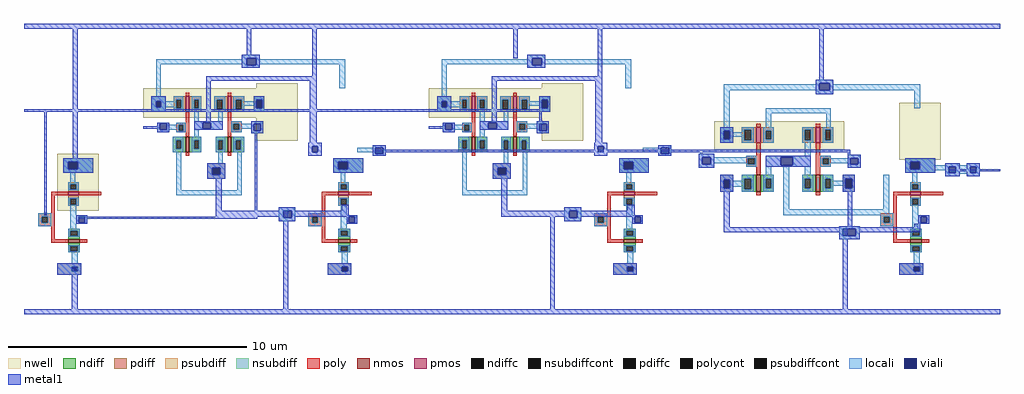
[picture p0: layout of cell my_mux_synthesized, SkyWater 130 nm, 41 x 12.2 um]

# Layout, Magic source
magic
tech sky130A
<< nwell >>
rect -60 -65 115 175
rect 775 229 950 470
rect 1975 229 2150 470
rect 3477 149 3652 389
<< nmos >>
rect -15 -200 35 -185
rect 1120 -200 1170 -185
rect 2320 -200 2370 -185
rect 3522 -200 3572 -185
<< pmos >>
rect -15 0 30 15
rect 1120 0 1165 15
rect 2320 0 2365 15
rect 3522 0 3567 15
<< ndiff >>
rect -15 -150 35 -140
rect -15 -170 -5 -150
rect 25 -170 35 -150
rect -15 -185 35 -170
rect -15 -215 35 -200
rect -15 -235 -5 -215
rect 25 -235 35 -215
rect -15 -240 35 -235
rect 1120 -150 1170 -140
rect 1120 -170 1130 -150
rect 1160 -170 1170 -150
rect 1120 -185 1170 -170
rect 1120 -215 1170 -200
rect 1120 -235 1130 -215
rect 1160 -235 1170 -215
rect 1120 -240 1170 -235
rect 2320 -150 2370 -140
rect 2320 -170 2330 -150
rect 2360 -170 2370 -150
rect 2320 -185 2370 -170
rect 2320 -215 2370 -200
rect 2320 -235 2330 -215
rect 2360 -235 2370 -215
rect 2320 -240 2370 -235
rect 3522 -150 3572 -140
rect 3522 -170 3532 -150
rect 3562 -170 3572 -150
rect 3522 -185 3572 -170
rect 3522 -215 3572 -200
rect 3522 -235 3532 -215
rect 3562 -235 3572 -215
rect 3522 -240 3572 -235
<< pdiff >>
rect -15 45 30 55
rect -15 25 -5 45
rect 20 25 30 45
rect -15 15 30 25
rect -15 -15 30 0
rect -15 -40 -5 -15
rect 20 -40 30 -15
rect -15 -45 30 -40
rect 1120 45 1165 55
rect 1120 25 1130 45
rect 1155 25 1165 45
rect 1120 15 1165 25
rect 1120 -15 1165 0
rect 1120 -40 1130 -15
rect 1155 -40 1165 -15
rect 1120 -45 1165 -40
rect 2320 45 2365 55
rect 2320 25 2330 45
rect 2355 25 2365 45
rect 2320 15 2365 25
rect 2320 -15 2365 0
rect 2320 -40 2330 -15
rect 2355 -40 2365 -15
rect 2320 -45 2365 -40
rect 3522 45 3567 55
rect 3522 25 3532 45
rect 3557 25 3567 45
rect 3522 15 3567 25
rect 3522 -15 3567 0
rect 3522 -40 3532 -15
rect 3557 -40 3567 -15
rect 3522 -45 3567 -40
<< ndiffc >>
rect -5 -170 25 -150
rect -5 -235 25 -215
rect 1130 -170 1160 -150
rect 1130 -235 1160 -215
rect 2330 -170 2360 -150
rect 2330 -235 2360 -215
rect 3532 -170 3562 -150
rect 3532 -235 3562 -215
<< pdiffc >>
rect -5 25 20 45
rect -5 -40 20 -15
rect 1130 25 1155 45
rect 1130 -40 1155 -15
rect 2330 25 2355 45
rect 2330 -40 2355 -15
rect 3532 25 3557 45
rect 3532 -40 3557 -15
<< psubdiff >>
rect -60 -300 40 -285
rect -60 -320 0 -300
rect 25 -320 40 -300
rect -60 -335 40 -320
rect 1075 -300 1175 -285
rect 1075 -320 1135 -300
rect 1160 -320 1175 -300
rect 1075 -335 1175 -320
rect 2275 -300 2375 -285
rect 2275 -320 2335 -300
rect 2360 -320 2375 -300
rect 2275 -335 2375 -320
rect 3477 -300 3577 -285
rect 3477 -320 3537 -300
rect 3562 -320 3577 -300
rect 3477 -335 3577 -320
<< nsubdiff >>
rect -35 140 90 155
rect -35 110 -15 140
rect 25 110 90 140
rect -35 95 90 110
rect 1100 140 1225 155
rect 1100 110 1120 140
rect 1160 110 1225 140
rect 1100 95 1225 110
rect 2300 140 2425 155
rect 2300 110 2320 140
rect 2360 110 2425 140
rect 2300 95 2425 110
rect 3502 140 3627 155
rect 3502 110 3522 140
rect 3562 110 3627 140
rect 3502 95 3627 110
<< psubdiffcont >>
rect 0 -320 25 -300
rect 1135 -320 1160 -300
rect 2335 -320 2360 -300
rect 3537 -320 3562 -300
<< nsubdiffcont >>
rect -15 110 25 140
rect 1120 110 1160 140
rect 2320 110 2360 140
rect 3522 110 3562 140
<< poly >>
rect -85 0 -15 15
rect 30 0 125 15
rect -85 -75 -70 0
rect -140 -90 -70 -75
rect -140 -115 -125 -90
rect -100 -115 -70 -90
rect -140 -130 -70 -115
rect -85 -185 -70 -130
rect -85 -200 -15 -185
rect 35 -200 65 -185
rect 1050 0 1120 15
rect 1165 0 1260 15
rect 1050 -75 1065 0
rect 995 -90 1065 -75
rect 995 -115 1010 -90
rect 1035 -115 1065 -90
rect 995 -130 1065 -115
rect 1050 -185 1065 -130
rect 1050 -200 1120 -185
rect 1170 -200 1200 -185
rect 2250 0 2320 15
rect 2365 0 2460 15
rect 2250 -75 2265 0
rect 2195 -90 2265 -75
rect 2195 -115 2210 -90
rect 2235 -115 2265 -90
rect 2195 -130 2265 -115
rect 2250 -185 2265 -130
rect 2250 -200 2320 -185
rect 2370 -200 2400 -185
rect 3452 0 3522 15
rect 3567 0 3662 15
rect 3452 -75 3467 0
rect 3397 -90 3467 -75
rect 3397 -115 3412 -90
rect 3437 -115 3467 -90
rect 3397 -130 3467 -115
rect 3452 -185 3467 -130
rect 3452 -200 3522 -185
rect 3572 -200 3602 -185
<< polycont >>
rect -125 -115 -100 -90
rect 1010 -115 1035 -90
rect 2210 -115 2235 -90
rect 3412 -115 3437 -90
rect -115 -85 -105 -75
<< locali >>
rect 715 575 790 590
rect 715 570 735 575
rect 355 550 735 570
rect 355 415 375 550
rect 715 545 735 550
rect 775 570 790 575
rect 775 550 1150 570
rect 775 545 790 550
rect 715 535 790 545
rect 1125 450 1150 550
rect 360 300 410 305
rect 755 300 805 310
rect 360 275 370 300
rect 400 295 410 300
rect 400 275 440 295
rect 715 280 765 300
rect 360 265 410 275
rect 755 270 765 280
rect 795 270 805 300
rect 755 260 805 270
rect 1265 200 1320 210
rect 1200 180 1275 200
rect 1265 175 1275 180
rect 1310 175 1320 200
rect 1265 165 1320 175
rect 870 -65 940 -50
rect 870 -95 890 -65
rect 925 -95 940 -65
rect 870 -110 940 -95
rect 1915 575 1990 590
rect 1915 570 1935 575
rect 1555 550 1935 570
rect 1555 415 1575 550
rect 1915 545 1935 550
rect 1975 570 1990 575
rect 1975 550 2350 570
rect 1975 545 1990 550
rect 1915 535 1990 545
rect 2325 450 2350 550
rect 1560 300 1610 305
rect 1955 300 2005 310
rect 1560 275 1570 300
rect 1600 295 1610 300
rect 1600 275 1640 295
rect 1915 280 1965 300
rect 1560 265 1610 275
rect 1955 270 1965 280
rect 1995 270 2005 300
rect 1955 260 2005 270
rect 2465 200 2520 210
rect 2400 180 2475 200
rect 2465 175 2475 180
rect 2510 175 2520 200
rect 2465 165 2520 175
rect 2070 -65 2140 -50
rect 2070 -95 2090 -65
rect 2125 -95 2140 -65
rect 2070 -110 2140 -95
rect 3125 470 3200 485
rect 3125 465 3140 470
rect 2740 440 3140 465
rect 3185 465 3200 470
rect 3185 440 3565 465
rect 2740 285 2765 440
rect 3125 425 3200 440
rect 3540 365 3565 440
rect 2635 160 2700 175
rect 2635 130 2650 160
rect 2685 135 2835 160
rect 3260 155 3315 170
rect 3190 135 3270 155
rect 2685 130 2700 135
rect 2635 115 2700 130
rect 3260 130 3270 135
rect 3305 130 3315 155
rect 2990 -60 3015 120
rect 3260 115 3315 130
rect 3670 125 3730 135
rect 3760 125 3815 135
rect 3600 120 3815 125
rect 3600 105 3685 120
rect 3670 95 3685 105
rect 3715 95 3775 120
rect 3800 95 3815 120
rect 3670 90 3815 95
rect 3410 -60 3435 85
rect 3670 80 3730 90
rect 3760 80 3815 90
rect 2990 -85 3435 -60
rect 3225 -140 3310 -130
rect 3225 -170 3240 -140
rect 3295 -170 3310 -140
rect 3225 -185 3310 -170
rect -35 140 90 155
rect -35 110 -15 140
rect 25 110 90 140
rect -35 95 90 110
rect -5 55 15 95
rect -15 45 30 55
rect -15 25 -5 45
rect 20 25 30 45
rect -15 20 30 25
rect -15 -15 30 -10
rect -15 -40 -5 -15
rect 20 -40 30 -15
rect -15 -45 30 -40
rect -140 -90 -85 -75
rect -140 -115 -125 -90
rect -100 -115 -85 -90
rect -140 -130 -85 -115
rect -5 -85 20 -45
rect -5 -90 65 -85
rect -5 -115 30 -90
rect 55 -115 65 -90
rect -5 -120 65 -115
rect -5 -140 20 -120
rect -15 -150 35 -140
rect -15 -170 -5 -150
rect 25 -170 35 -150
rect -15 -175 35 -170
rect -15 -215 35 -210
rect -15 -235 -5 -215
rect 25 -235 35 -215
rect -15 -240 35 -235
rect 0 -285 25 -240
rect -60 -300 40 -285
rect -60 -320 0 -300
rect 25 -320 40 -300
rect -60 -335 40 -320
rect 1100 140 1225 155
rect 1100 110 1120 140
rect 1160 110 1225 140
rect 1100 95 1225 110
rect 1130 55 1150 95
rect 1120 45 1165 55
rect 1120 25 1130 45
rect 1155 25 1165 45
rect 1120 20 1165 25
rect 1120 -15 1165 -10
rect 1120 -40 1130 -15
rect 1155 -40 1165 -15
rect 1120 -45 1165 -40
rect 995 -90 1050 -75
rect 995 -115 1010 -90
rect 1035 -115 1050 -90
rect 995 -130 1050 -115
rect 1130 -85 1155 -45
rect 1130 -90 1200 -85
rect 1130 -115 1165 -90
rect 1190 -115 1200 -90
rect 1130 -120 1200 -115
rect 1130 -140 1155 -120
rect 1120 -150 1170 -140
rect 1120 -170 1130 -150
rect 1160 -170 1170 -150
rect 1120 -175 1170 -170
rect 1120 -215 1170 -210
rect 1120 -235 1130 -215
rect 1160 -235 1170 -215
rect 1120 -240 1170 -235
rect 1135 -285 1160 -240
rect 1075 -300 1175 -285
rect 1075 -320 1135 -300
rect 1160 -320 1175 -300
rect 1075 -335 1175 -320
rect 2300 140 2425 155
rect 2300 110 2320 140
rect 2360 110 2425 140
rect 2300 95 2425 110
rect 2330 55 2350 95
rect 2320 45 2365 55
rect 2320 25 2330 45
rect 2355 25 2365 45
rect 2320 20 2365 25
rect 2320 -15 2365 -10
rect 2320 -40 2330 -15
rect 2355 -40 2365 -15
rect 2320 -45 2365 -40
rect 2195 -90 2250 -75
rect 2195 -115 2210 -90
rect 2235 -115 2250 -90
rect 2195 -130 2250 -115
rect 2330 -85 2355 -45
rect 2330 -90 2400 -85
rect 2330 -115 2365 -90
rect 2390 -115 2400 -90
rect 2330 -120 2400 -115
rect 2330 -140 2355 -120
rect 2320 -150 2370 -140
rect 2320 -170 2330 -150
rect 2360 -170 2370 -150
rect 2320 -175 2370 -170
rect 2320 -215 2370 -210
rect 2320 -235 2330 -215
rect 2360 -235 2370 -215
rect 2320 -240 2370 -235
rect 2335 -285 2360 -240
rect 2275 -300 2375 -285
rect 2275 -320 2335 -300
rect 2360 -320 2375 -300
rect 2275 -335 2375 -320
rect 3502 140 3627 155
rect 3502 110 3522 140
rect 3562 110 3627 140
rect 3502 95 3627 110
rect 3532 55 3552 95
rect 3522 45 3567 55
rect 3522 25 3532 45
rect 3557 25 3567 45
rect 3522 20 3567 25
rect 3522 -15 3567 -10
rect 3522 -40 3532 -15
rect 3557 -40 3567 -15
rect 3522 -45 3567 -40
rect 3397 -90 3452 -75
rect 3397 -115 3412 -90
rect 3437 -115 3452 -90
rect 3397 -130 3452 -115
rect 3532 -85 3557 -45
rect 3532 -90 3602 -85
rect 3532 -115 3567 -90
rect 3592 -115 3602 -90
rect 3532 -120 3602 -115
rect 3532 -140 3557 -120
rect 3522 -150 3572 -140
rect 3522 -170 3532 -150
rect 3562 -170 3572 -150
rect 3522 -175 3572 -170
rect 3522 -215 3572 -210
rect 3522 -235 3532 -215
rect 3562 -235 3572 -215
rect 3522 -240 3572 -235
rect 3537 -285 3562 -240
rect 3477 -300 3577 -285
rect 3477 -320 3537 -300
rect 3562 -320 3577 -300
rect 3477 -335 3577 -320
<< viali >>
rect 735 545 775 575
rect 370 275 400 300
rect 765 270 795 300
rect 1010 180 1035 205
rect 1275 175 1310 200
rect 890 -95 925 -65
rect 1935 545 1975 575
rect 1570 275 1600 300
rect 1965 270 1995 300
rect 2210 180 2235 205
rect 2475 175 2510 200
rect 2090 -95 2125 -65
rect 3140 440 3185 470
rect 2650 130 2685 160
rect 3270 130 3305 155
rect 3685 95 3715 120
rect 3775 95 3800 120
rect 3240 -170 3295 -140
rect -15 110 25 140
rect 30 -115 55 -90
rect 0 -320 25 -300
rect 1120 110 1160 140
rect 1165 -115 1190 -90
rect 1135 -320 1160 -300
rect 2320 110 2360 140
rect 2365 -115 2390 -90
rect 2335 -320 2360 -300
rect 3522 110 3562 140
rect 3567 -115 3592 -90
rect 3537 -320 3562 -300
rect -115 -85 -105 -75
<< metal1 >>
rect -200 700 3900 720
rect -200 -500 3900 -480
rect 5 140 25 700
rect 0 -480 25 -300
rect 735 575 755 700
rect 890 -480 910 -65
rect 1010 205 1030 700
rect 1855 575 1875 700
rect 2010 -480 2030 -65
rect 2210 205 2230 700
rect 3140 470 3160 700
rect 3240 -480 3260 -140
rect 30 -100 780 -90
rect 770 -100 780 270
rect 1275 180 2650 190
rect 2640 130 2650 190
rect 2475 180 3270 190
rect 3260 130 3270 190
rect -200 350 1975 360
rect -115 -85 -105 350
rect 1965 270 1975 360
rect 300 280 370 290
rect 1500 280 1570 290
rect 3685 100 3900 110
rect 715 575 790 590
rect 715 545 735 575
rect 775 545 790 575
rect 715 535 790 545
rect 565 480 1025 500
rect 565 310 585 480
rect 360 300 410 305
rect 360 275 370 300
rect 400 275 410 300
rect 360 265 410 275
rect 755 300 805 310
rect 755 270 765 300
rect 795 270 805 300
rect 755 260 805 270
rect 1000 220 1025 480
rect 995 205 1050 220
rect 995 180 1010 205
rect 1035 180 1050 205
rect 995 165 1050 180
rect 1265 200 1320 210
rect 1265 175 1275 200
rect 1310 175 1320 200
rect 1265 165 1320 175
rect 605 -65 630 70
rect 870 -65 940 -50
rect 1135 -65 1165 -40
rect 605 -90 890 -65
rect 870 -95 890 -90
rect 925 -90 1165 -65
rect 925 -95 940 -90
rect 870 -110 940 -95
rect 1915 575 1990 590
rect 1915 545 1935 575
rect 1975 545 1990 575
rect 1915 535 1990 545
rect 1765 480 2225 500
rect 1765 310 1785 480
rect 1560 300 1610 305
rect 1560 275 1570 300
rect 1600 275 1610 300
rect 1560 265 1610 275
rect 1955 300 2005 310
rect 1955 270 1965 300
rect 1995 270 2005 300
rect 1955 260 2005 270
rect 2200 220 2225 480
rect 2195 205 2250 220
rect 2195 180 2210 205
rect 2235 180 2250 205
rect 2195 165 2250 180
rect 2465 200 2520 210
rect 2465 175 2475 200
rect 2510 175 2520 200
rect 2465 165 2520 175
rect 1805 -65 1830 70
rect 2070 -65 2140 -50
rect 2335 -65 2365 -40
rect 1805 -90 2090 -65
rect 2070 -95 2090 -90
rect 2125 -90 2365 -65
rect 2125 -95 2140 -90
rect 2070 -110 2140 -95
rect 3125 470 3200 485
rect 3125 440 3140 470
rect 3185 440 3200 470
rect 3125 425 3200 440
rect 2635 160 2700 175
rect 2635 130 2650 160
rect 2685 130 2700 160
rect 2635 115 2700 130
rect 3260 155 3315 170
rect 3260 130 3270 155
rect 3305 130 3315 155
rect 3260 115 3315 130
rect 3670 120 3730 135
rect 3670 95 3685 120
rect 3715 95 3730 120
rect 3670 80 3730 95
rect 3760 120 3815 135
rect 3760 95 3775 120
rect 3800 95 3815 120
rect 3760 80 3815 95
rect 2740 -135 2765 15
rect 3260 -130 3280 15
rect 3225 -135 3310 -130
rect 3540 -135 3565 -121
rect 2740 -140 3565 -135
rect 2740 -155 3240 -140
rect 3225 -170 3240 -155
rect 3295 -155 3565 -140
rect 3295 -170 3310 -155
rect 3225 -185 3310 -170
rect -35 140 90 155
rect -35 110 -15 140
rect 25 110 90 140
rect -35 95 90 110
rect 20 -90 65 -85
rect 20 -115 30 -90
rect 55 -115 65 -90
rect 20 -120 65 -115
rect -60 -300 40 -285
rect -60 -320 0 -300
rect 25 -320 40 -300
rect -60 -335 40 -320
rect 1100 140 1225 155
rect 1100 110 1120 140
rect 1160 110 1225 140
rect 1100 95 1225 110
rect 1155 -90 1200 -85
rect 1155 -115 1165 -90
rect 1190 -115 1200 -90
rect 1155 -120 1200 -115
rect 1075 -300 1175 -285
rect 1075 -320 1135 -300
rect 1160 -320 1175 -300
rect 1075 -335 1175 -320
rect 2300 140 2425 155
rect 2300 110 2320 140
rect 2360 110 2425 140
rect 2300 95 2425 110
rect 2355 -90 2400 -85
rect 2355 -115 2365 -90
rect 2390 -115 2400 -90
rect 2355 -120 2400 -115
rect 2275 -300 2375 -285
rect 2275 -320 2335 -300
rect 2360 -320 2375 -300
rect 2275 -335 2375 -320
rect 3502 140 3627 155
rect 3502 110 3522 140
rect 3562 110 3627 140
rect 3502 95 3627 110
rect 3557 -90 3602 -85
rect 3557 -115 3567 -90
rect 3592 -115 3602 -90
rect 3557 -120 3602 -115
rect 3477 -300 3577 -285
rect 3477 -320 3537 -300
rect 3562 -320 3577 -300
rect 3477 -335 3577 -320
use nand nand_1
transform 1 0 525 0 1 345
box -225 -345 315 105
use nand nand_2
transform 1 0 1725 0 1 345
box -225 -345 315 105
use nor nor_1
transform 1 0 2945 0 1 170
box -245 -170 345 195
<< labels >>
label A 300 285 0 metal1 e
label B 1500 285 0 metal1 e
label S -200 355 0 metal1 e
label OUT 3900 105 0 metal1 w
label VDD -200 710 0 metal1 e
label GND -200 -490 0 metal1 e
<< end >>

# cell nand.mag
magic #  THIS IS NAND GATE!!
tech sky130A
<< nwell >>
rect -225 -20 315 105
<< nmos >>
rect -45 -165 -30 -100
rect 130 -165 145 -100
<< pmos >>
rect -45 5 -30 70
rect 130 5 145 70
<< ndiff >>
rect -100 -115 -45 -100
rect -100 -150 -85 -115
rect -65 -150 -45 -115
rect -100 -165 -45 -150
rect -30 -115 20 -100
rect -30 -150 -10 -115
rect 10 -150 20 -115
rect -30 -165 20 -150
rect 80 -115 130 -100
rect 80 -155 90 -115
rect 110 -155 130 -115
rect 80 -165 130 -155
rect 145 -115 200 -100
rect 145 -155 165 -115
rect 185 -155 200 -115
rect 145 -165 200 -155
<< pdiff >>
rect -95 55 -45 70
rect -95 20 -85 55
rect -65 20 -45 55
rect -95 5 -45 20
rect -30 55 20 70
rect -30 20 -10 55
rect 10 20 20 55
rect -30 5 20 20
rect 75 55 130 70
rect 75 15 85 55
rect 110 15 130 55
rect 75 5 130 15
rect 145 55 200 70
rect 145 15 165 55
rect 190 15 200 55
rect 145 5 200 15
<< ndiffc >>
rect -85 -150 -65 -115
rect -10 -150 10 -115
rect 90 -155 110 -115
rect 165 -155 185 -115
<< pdiffc >>
rect -85 20 -65 55
rect -10 20 10 55
rect 85 15 110 55
rect 165 15 190 55
<< psubdiff >>
rect 45 -230 120 -210
rect 45 -260 65 -230
rect 100 -260 120 -230
rect 45 -275 120 -260
<< nsubdiff >>
rect -190 50 -130 70
rect -190 25 -170 50
rect -150 25 -130 50
rect -190 5 -130 25
rect 240 55 285 70
rect 240 20 250 55
rect 275 20 285 55
rect 240 5 285 20
<< psubdiffcont >>
rect 65 -260 100 -230
<< nsubdiffcont >>
rect -170 25 -150 50
rect 250 20 275 55
<< poly >>
rect -45 70 -30 85
rect 130 70 145 85
rect -45 -40 -30 5
rect -85 -50 -30 -40
rect -85 -75 -75 -50
rect -55 -75 -30 -50
rect -85 -80 -30 -75
rect -45 -100 -30 -80
rect 130 -35 145 5
rect 130 -45 190 -35
rect 130 -70 155 -45
rect 180 -70 190 -45
rect 130 -80 190 -70
rect 130 -100 145 -80
rect -45 -180 -30 -165
rect 130 -180 145 -165
<< polycont >>
rect -75 -75 -55 -50
rect 155 -70 180 -45
<< locali >>
rect -190 50 -130 70
rect -95 55 -55 70
rect -95 50 -85 55
rect -190 25 -170 50
rect -150 25 -85 50
rect -190 5 -130 25
rect -95 20 -85 25
rect -65 20 -55 55
rect -95 5 -55 20
rect -20 55 20 70
rect -20 20 -10 55
rect 10 20 20 55
rect -20 5 20 20
rect 75 55 120 70
rect 75 15 85 55
rect 110 15 120 55
rect 75 5 120 15
rect 155 55 200 70
rect 155 15 165 55
rect 190 50 200 55
rect 240 55 285 70
rect 240 50 250 55
rect 190 30 250 50
rect 190 15 200 30
rect 155 5 200 15
rect 240 20 250 30
rect 275 20 285 55
rect 240 5 285 20
rect -10 -35 10 5
rect 90 -35 110 5
rect -10 -40 110 -35
rect -85 -50 -45 -40
rect -85 -75 -75 -50
rect -55 -75 -45 -50
rect -85 -80 -45 -75
rect -10 -65 25 -40
rect 60 -65 110 -40
rect -10 -70 110 -65
rect 145 -45 190 -35
rect 145 -70 155 -45
rect 180 -70 190 -45
rect -10 -100 10 -70
rect 145 -80 190 -70
rect -100 -115 -55 -100
rect -100 -150 -85 -115
rect -65 -150 -55 -115
rect -100 -165 -55 -150
rect -20 -115 20 -100
rect -20 -150 -10 -115
rect 10 -150 20 -115
rect -20 -165 20 -150
rect 80 -115 120 -100
rect 80 -155 90 -115
rect 110 -155 120 -115
rect 80 -165 120 -155
rect 155 -115 200 -100
rect 155 -155 165 -115
rect 185 -155 200 -115
rect 155 -165 200 -155
rect -85 -325 -65 -165
rect 90 -210 110 -165
rect 45 -230 120 -210
rect 45 -260 65 -230
rect 100 -260 120 -230
rect 45 -275 120 -260
rect 170 -325 190 -165
rect -85 -345 190 -325
<< viali >>
rect -170 25 -150 50
rect 250 20 275 55
rect 25 -65 60 -40
rect 65 -260 100 -230
<< metal1 >>
rect -190 50 -130 70
rect -190 25 -170 50
rect -150 25 -130 50
rect -190 5 -130 25
rect 240 55 285 70
rect 240 20 250 55
rect 275 20 285 55
rect 240 5 285 20
rect -10 -40 110 -35
rect -10 -65 25 -40
rect 60 -65 110 -40
rect -10 -70 110 -65
rect 45 -230 120 -210
rect 45 -260 65 -230
rect 100 -260 120 -230
rect 45 -275 120 -260
<< labels >>
rlabel polycont -75 -75 -55 -50 1 in1
rlabel polycont 155 -70 180 -45 1 in2
rlabel metal1 65 -260 100 -230 1 gnd
rlabel nwell -170 25 -150 50 1 vcc
rlabel nwell 250 20 275 55 1 vcc
rlabel viali 25 -65 60 -40 1 out
<< end >>

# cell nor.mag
magic #  THIS IS NOR GATE!!
tech sky130A
<< nwell >>
rect -245 20 300 140
<< nmos >>
rect -70 -155 -50 -85
rect 180 -155 200 -85
<< pmos >>
rect -70 50 -50 115
rect 180 50 200 115
<< ndiff >>
rect -130 -100 -70 -85
rect -130 -145 -120 -100
rect -90 -145 -70 -100
rect -130 -155 -70 -145
rect -50 -100 5 -85
rect -50 -140 -30 -100
rect -5 -140 5 -100
rect -50 -155 5 -140
rect 125 -100 180 -85
rect 125 -140 135 -100
rect 160 -140 180 -100
rect 125 -155 180 -140
rect 200 -100 255 -85
rect 200 -140 220 -100
rect 245 -140 255 -100
rect 200 -155 255 -140
<< pdiff >>
rect -130 105 -70 115
rect -130 60 -120 105
rect -90 60 -70 105
rect -130 50 -70 60
rect -50 100 5 115
rect -50 65 -30 100
rect -5 65 5 100
rect -50 50 5 65
rect 125 105 180 115
rect 125 60 135 105
rect 160 60 180 105
rect 125 50 180 60
rect 200 105 255 115
rect 200 60 220 105
rect 245 60 255 105
rect 200 50 255 60
<< ndiffc >>
rect -120 -145 -90 -100
rect -30 -140 -5 -100
rect 135 -140 160 -100
rect 220 -140 245 -100
<< pdiffc >>
rect -120 60 -90 105
rect -30 65 -5 100
rect 135 60 160 105
rect 220 60 245 105
<< psubdiff >>
rect -220 -105 -165 -85
rect -220 -140 -205 -105
rect -180 -140 -165 -105
rect -220 -155 -165 -140
rect 295 -100 345 -85
rect 295 -140 305 -100
rect 335 -140 345 -100
rect 295 -155 345 -140
<< nsubdiff >>
rect -220 100 -165 115
rect -220 65 -205 100
rect -180 65 -165 100
rect -220 50 -165 65
<< psubdiffcont >>
rect -205 -140 -180 -105
rect 305 -140 335 -100
<< nsubdiffcont >>
rect -205 65 -180 100
<< poly >>
rect -70 115 -50 130
rect 180 115 200 130
rect -70 -5 -50 50
rect -110 -15 -50 -5
rect -110 -40 -105 -15
rect -75 -40 -50 -15
rect -110 -50 -50 -40
rect -70 -85 -50 -50
rect 180 -5 200 50
rect 180 -15 245 -5
rect 180 -40 210 -15
rect 235 -40 245 -15
rect 180 -50 245 -40
rect 180 -85 200 -50
rect -70 -170 -50 -155
rect 180 -170 200 -155
<< polycont >>
rect -105 -40 -75 -15
rect 210 -40 235 -15
<< locali >>
rect -30 175 245 195
rect -30 115 -5 175
rect 225 115 245 175
rect -220 100 -165 115
rect -220 65 -205 100
rect -180 95 -165 100
rect -130 105 -80 115
rect -130 95 -120 105
rect -180 75 -120 95
rect -180 65 -165 75
rect -220 50 -165 65
rect -130 60 -120 75
rect -90 60 -80 105
rect -130 50 -80 60
rect -40 100 5 115
rect -40 65 -30 100
rect -5 65 5 100
rect -40 50 5 65
rect 125 105 170 115
rect 125 60 135 105
rect 160 60 170 105
rect 125 50 170 60
rect 210 105 255 115
rect 210 60 220 105
rect 245 60 255 105
rect 210 50 255 60
rect 135 -5 160 50
rect -110 -15 -70 -5
rect -110 -40 -105 -15
rect -75 -40 -70 -15
rect -110 -50 -70 -40
rect -30 -10 160 -5
rect -30 -45 35 -10
rect 85 -45 160 -10
rect -30 -50 160 -45
rect 200 -15 245 -5
rect 200 -40 210 -15
rect 235 -40 245 -15
rect 200 -50 245 -40
rect -30 -85 -5 -50
rect 135 -85 160 -50
rect -220 -105 -165 -85
rect -220 -140 -205 -105
rect -180 -110 -165 -105
rect -130 -100 -80 -85
rect -130 -110 -120 -100
rect -180 -135 -120 -110
rect -180 -140 -165 -135
rect -220 -155 -165 -140
rect -130 -145 -120 -135
rect -90 -145 -80 -100
rect -130 -155 -80 -145
rect -40 -100 5 -85
rect -40 -140 -30 -100
rect -5 -140 5 -100
rect -40 -155 5 -140
rect 125 -100 170 -85
rect 125 -140 135 -100
rect 160 -140 170 -100
rect 125 -155 170 -140
rect 210 -100 255 -85
rect 210 -140 220 -100
rect 245 -110 255 -100
rect 295 -100 345 -85
rect 295 -110 305 -100
rect 245 -130 305 -110
rect 245 -140 255 -130
rect 210 -155 255 -140
rect 295 -140 305 -130
rect 335 -140 345 -100
rect 295 -155 345 -140
<< viali >>
rect -205 65 -180 100
rect 35 -45 85 -10
rect -205 -140 -180 -105
rect 305 -140 335 -100
<< metal1 >>
rect -220 100 -165 115
rect -220 65 -205 100
rect -180 65 -165 100
rect -220 50 -165 65
rect -30 -10 160 -5
rect -30 -45 35 -10
rect 85 -45 160 -10
rect -30 -50 160 -45
rect -220 -105 -165 -85
rect -220 -140 -205 -105
rect -180 -140 -165 -105
rect -220 -155 -165 -140
rect 295 -100 345 -85
rect 295 -140 305 -100
rect 335 -140 345 -100
rect 295 -155 345 -140
<< labels >>
rlabel nwell -205 65 -180 100 1 vdd
rlabel polycont -105 -40 -75 -15 1 in1
rlabel viali 35 -45 85 -10 1 out
rlabel polycont 210 -40 235 -15 1 in2
rlabel metal1 -205 -140 -180 -105 1 gnd
rlabel metal1 305 -140 335 -100 1 gnd
<< end >>
